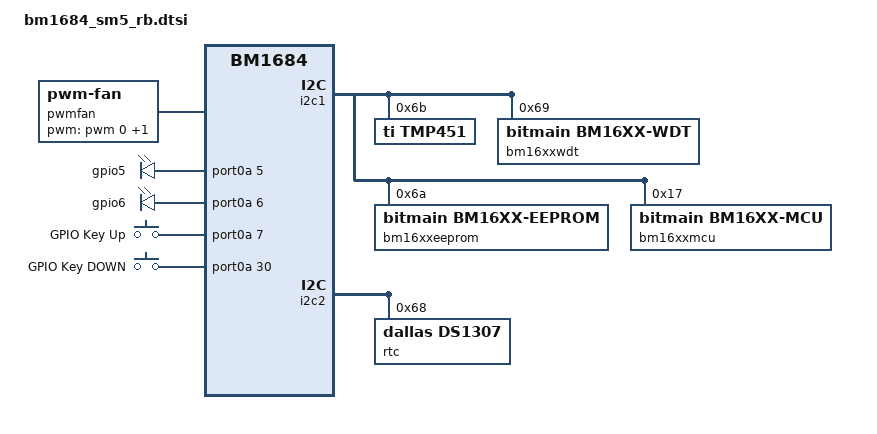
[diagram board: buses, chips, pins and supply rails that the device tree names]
#include <dt-bindings/input/input.h>

&i2c1 {
	/delete-node/ tmp451@4c;

	tmp451: tmp451@6b {
		compatible = "ti,tmp451";
		reg = <0x6b>;
		#thermal-sensor-cells = <1>;
	};

	bm16xxwdt@69 {
		compatible = "bitmain,bm16xx-wdt";
		reg = <0x69>;
		flavor = "strict";
	};

	bm16xxeeprom@6a {
		compatible = "bitmain,bm16xx-eeprom";
		reg = <0x6a>;
		size = <3072>;

		#address-cells = <1>;
		#size-cells = <1>;
		sn: sn@0000 {
			reg = <0x0000 17>;
		};
		mac0: mac0@0020 {
			reg = <0x0020 6>;
		};
		mac1: mac1@0040 {
			reg = <0x0040 6>;
		};
	};

	bm16xxmcu@17 {
		compatible = "bitmain,bm16xx-mcu";
		reg = <0x17>;

		nvmem-cells = <&sn>, <&mac0>, <&mac1>;
		nvmem-cell-names = "sn", "mac0", "mac1";
	};
};

&i2c2 {
	pinctrl-names = "default", "dbgi2c";
	pinctrl-0 = <&i2c2_acquire &dbgi2c_release>;

	rtc@68 {
		compatible = "dallas,ds1307";
		reg = <0x68>;
	};
};

&uart2 {
	pinctrl-names = "default";
	pinctrl-0 = <&uart2_acquire>;
};

&tach0 {
	pinctrl-names = "default";
	pinctrl-0 = <&fan0_acquire>;
};

&tach1 {
	pinctrl-names = "default";
	pinctrl-0 = <&fan1_acquire>;
};

&thermal_zones {
	soc {
		trips {
			soc_pwmfan_trip0: soc_pwmfan_trip@0 {
				temperature = <30000>; /* millicelsius */
				hysteresis = <10000>; /* millicelsius */
				type = "active";
			};

			soc_pwmfan_trip1: soc_pwmfan_trip@1 {
				temperature = <53000>; /* millicelsius */
				hysteresis = <8000>; /* millicelsius */
				type = "active";
			};

			soc_pwmfan_trip2: soc_pwmfan_trip@2 {
				temperature = <65000>; /* millicelsius */
				hysteresis = <12000>; /* millicelsius */
				type = "active";
			};

			soc_pwmfan_trip3: soc_pwmfan_trip@3 {
				temperature = <75000>; /* millicelsius */
				hysteresis = <10000>; /* millicelsius */
				type = "active";
			};

			soc_pwmfan_trip4: soc_pwmfan_trip@4 {
				temperature = <80000>; /* millicelsius */
				hysteresis = <5000>; /* millicelsius */
				type = "active";
			};
		};

		cooling-maps {
			map3 {
				trip = <&soc_pwmfan_trip0>;
				cooling-device = <&pwmfan 0 1>;
			};

			map4 {
				trip = <&soc_pwmfan_trip1>;
				cooling-device = <&pwmfan 1 2>;
			};

			map5 {
				trip = <&soc_pwmfan_trip2>;
				cooling-device = <&pwmfan 2 3>;
			};

			map6 {
				trip = <&soc_pwmfan_trip3>;
				cooling-device = <&pwmfan 3 4>;
			};

			map7 {
				trip = <&soc_pwmfan_trip4>;
				cooling-device = <&pwmfan 4 5>;
			};
		};
	};
};

/ {
	pwmfan: pwm-fan {
		compatible = "pwm-fan";
		pwms = <&pwm 0 40000>, <&pwm 1 40000>; // period_ns
		pwm-names = "pwm0","pwm1";
		pwm_inuse = "pwm0";
		#cooling-cells = <2>;
		cooling-levels = <255 153 128 77 26 1>;  //total 255
	};

	gpio-leds {
		compatible = "gpio-leds";

		gpio5 {
			label = "gpio5";
			gpios = <&port0a 5 GPIO_ACTIVE_HIGH>;
			default-state = "off";
		};

		gpio6 {
			label = "gpio6";
			gpios = <&port0a 6 GPIO_ACTIVE_HIGH>;
			default-state = "off";
		};
	};

	gpio-keys {
		compatible = "gpio-keys";

		gpio7 {
			label = "GPIO Key Up";
			linux,code = <KEY_UP>;
			gpios = <&port0a 7 GPIO_ACTIVE_HIGH>;
		};

		gpio30 {
			label = "GPIO Key DOWN";
			linux,code = <KEY_DOWN>;
			gpios = <&port0a 30 GPIO_ACTIVE_HIGH>;
		};
	};
};
